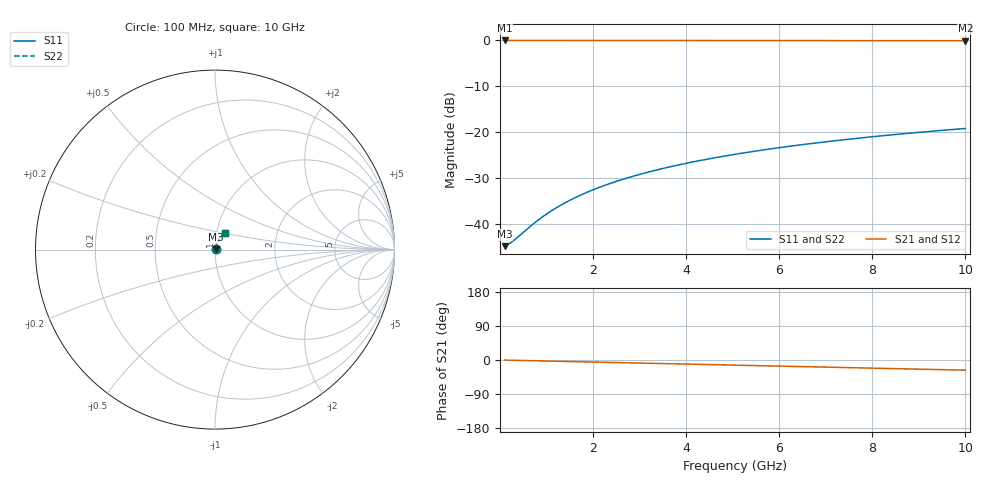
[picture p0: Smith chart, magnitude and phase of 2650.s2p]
# Hz S RI R 50.00
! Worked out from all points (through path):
!   100 points, 100 MHz to 10 GHz, reference 50 ohm
!   highest |S21| = -0.05 dB at 100 MHz (marker M1); lowest = -0.1 dB at 10 GHz (marker M2)
!   group delay of S21, straight-line fit = 7.46 ps
!   lowest |S11| = -44.9 dB at 100 MHz (marker M3), VSWR 1.01, Z = 50.6 + j0.112 ohm
!   |S11| at or under -10 dB: start of sweep to end of sweep
!   |S22| runs from -44.9 to -19.2 dB; largest |S21 - S12| = 0
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1e8  0.00558 0.00111  0.9944 -0.00467  0.9944 -0.00467  0.00558 0.00111
2e8  0.00563 0.00222  0.9943 -0.00934  0.9943 -0.00934  0.00563 0.00222
3e8  0.00568 0.00333  0.9943 -0.014  0.9943 -0.014  0.00568 0.00333
6e8  0.00587 0.00665  0.9939 -0.028  0.9939 -0.028  0.00587 0.00665
8e8  0.00605 0.00886  0.9935 -0.0373  0.9935 -0.0373  0.00605 0.00886
9e8  0.00615 0.00997  0.9933 -0.042  0.9933 -0.042  0.00615 0.00997
1.1e9  0.00638 0.0122  0.9928 -0.0513  0.9928 -0.0513  0.00638 0.0122
1.4e9  0.00679 0.0155  0.9919 -0.0653  0.9919 -0.0653  0.00679 0.0155
1.6e9  0.00712 0.0177  0.9912 -0.0746  0.9912 -0.0746  0.00712 0.0177
1.8e9  0.00749 0.0199  0.9904 -0.0839  0.9904 -0.0839  0.00749 0.0199
2.1e9  0.00812 0.0231  0.989 -0.0978  0.989 -0.0978  0.00812 0.0231
2.5e9  0.0091 0.0274  0.9868 -0.1164  0.9868 -0.1164  0.0091 0.0274
2.9e9  0.0102 0.0317  0.9843 -0.1349  0.9843 -0.1349  0.0102 0.0317
3.4e9  0.0119 0.037  0.9807 -0.1579  0.9807 -0.1579  0.0119 0.037
3.8e9  0.0134 0.0412  0.9773 -0.1762  0.9773 -0.1762  0.0134 0.0412
4.2e9  0.015 0.0453  0.9736 -0.1945  0.9736 -0.1945  0.015 0.0453
5.1e9  0.0193 0.0543  0.964 -0.2352  0.964 -0.2352  0.0193 0.0543
5.9e9  0.0237 0.0619  0.9539 -0.271  0.9539 -0.271  0.0237 0.0619
6.7e9  0.0287 0.0692  0.9425 -0.3064  0.9425 -0.3064  0.0287 0.0692
7.5e9  0.0342 0.0761  0.9297 -0.3412  0.9297 -0.3412  0.0342 0.0761
8.4e9  0.041 0.0833  0.9137 -0.3796  0.9137 -0.3796  0.041 0.0833
1e10  0.0544 0.0946  0.8814 -0.4459  0.8814 -0.4459  0.0544 0.0946
